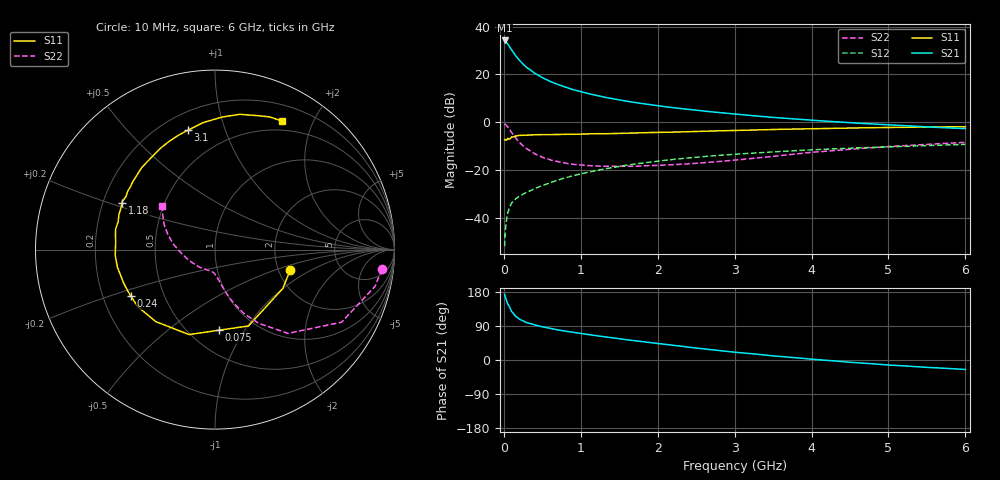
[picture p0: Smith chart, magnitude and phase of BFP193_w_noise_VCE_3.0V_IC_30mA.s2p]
! Infineon Technologies  Discrete & RF Semiconductors
! BFP193
! VCE = 3.0 V,  IC =  30 mA
! Common Emitter S-Parameters:  Jan 2016
# GHz  S  MA  R  50
!  f  S11  S21  S12  S22
! GHz  MAG  ANG  MAG  ANG  MAG  ANG  MAG  ANG
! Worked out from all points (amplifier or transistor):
!   210 points, 10 MHz to 6 GHz, reference 50 ohm
!   highest |S21| = 34.2 dB at 10 MHz (marker M1)
!   |S21| within 3 dB of that: start of sweep to 81.38 MHz
!   unconditionally stable (mu >= 1): 635.3 MHz to 3.783 GHz
!   at 185 MHz: K = 0.59, MSG = 28.9 dB, |S12| = -31.2 dB
!   at 1.52 GHz: K = 1.07, MAG = 12.2 dB, |S12| = -18.3 dB
!   at 6 GHz: K = 0.93, MSG = 3.3 dB, |S12| = -9.2 dB
!   lowest NFmin = 1.90 dB at 450 MHz
!   S11 on the Smith chart (normalised r, x): 10 MHz: 2.31, -0.66; 75 MHz: 0.69, -0.77; 240 MHz: 0.32, -0.23; 1.18 GHz: 0.28, +0.22; 3.1 GHz: 0.30, +0.75; 6 GHz: 0.38, +1.58
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0.01  0.4342 -15.4  51.26 173.2  0.0026 84.5  0.9355 -6.7
0.02  0.4354 -29.8  49.27 165.4  0.0056 77.0  0.9154 -12.9
0.05  0.4646 -66.3  43.56 148.1  0.0128 66.4  0.8133 -29.8
0.075  0.4499 -87.3  37.64 139.5  0.0167 60.8  0.7067 -38.0
0.1  0.495 -107.0  32.85 128.1  0.0206 57.3  0.6195 -48.9
0.15  0.5196 -129.5  24.99 115.7  0.0249 53.9  0.4772 -59.4
0.2  0.5351 -143.6  19.98 108.0  0.0286 53.3  0.3869 -65.9
0.24  0.5357 -151.2  17.07 103.7  0.0312 52.9  0.3338 -69.3
0.3  0.5421 -159.9  13.89 98.4  0.0347 55.1  0.2791 -73.5
0.4  0.5524 -169.8  10.64 92.4  0.0413 56.8  0.221 -77.8
0.5  0.5568 -176.7  8.551 87.6  0.0477 58.8  0.1866 -80.9
0.6  0.5542 177.1  7.176 83.3  0.0549 60.1  0.1652 -83.8
0.7  0.5594 172.3  6.182 79.4  0.0622 60.9  0.151 -86.4
0.9  0.5616 163.9  4.822 73.0  0.077 60.7  0.1329 -91.2
1.02  0.5704 159.0  4.287 69.5  0.0854 60.5  0.1277 -94.2
1.18  0.5799 153.2  3.72 64.7  0.0971 59.7  0.1229 -99.0
1.6  0.5949 140.2  2.753 53.4  0.1277 55.9  0.121 -111.7
2.02  0.617 128.6  2.202 43.2  0.1564 51.1  0.1265 -126.3
3.1  0.6819 102.8  1.442 18.8  0.2212 37.9  0.1683 -164.9
4.1  0.7444 85.3  1.082 0.6  0.2715 26.2  0.2438 169.7
5.1  0.784 72.1  0.87 -14.3  0.312 15.2  0.3193 152.8
6  0.8078 62.4  0.741 -25.0  0.3468 5.5  0.3821 140.2
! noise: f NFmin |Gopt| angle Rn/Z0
0.45  1.9  0.4  180  0.09
0.9  1.95  0.43  -173  0.11
1.8  2.4  0.58  -144  0.24
